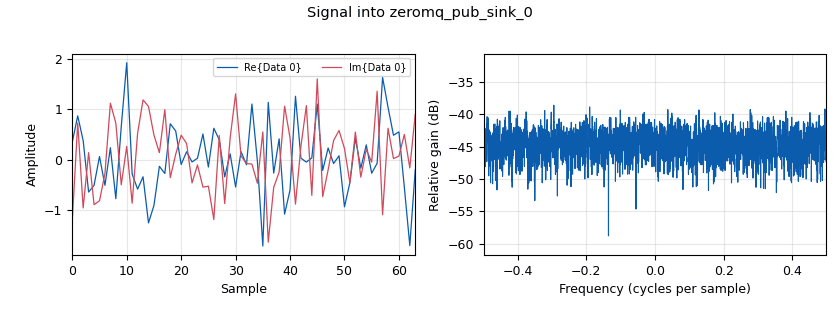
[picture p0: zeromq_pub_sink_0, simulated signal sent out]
options:
  parameters:
    generate_options: qt_gui
    id: zmq_pub_test
    output_language: python
    title: Not titled yet
  states: {}

blocks:
- name: samp_rate
  id: variable
  parameters:
    value: '32000'
  states: {}
- name: analog_noise_source_x_0
  id: analog_noise_source_x
  parameters:
    amp: '1'
    noise_type: analog.GR_GAUSSIAN
    seed: '0'
    type: complex
  states: {}
- name: zeromq_pub_sink_0
  id: zeromq_pub_sink
  parameters:
    address: tcp://0.0.0.0:8008
    timeout: '100'
    type: complex
  states: {}

connections:
- [analog_noise_source_x_0, '0', zeromq_pub_sink_0, '0']

metadata:
  file_format: 1
